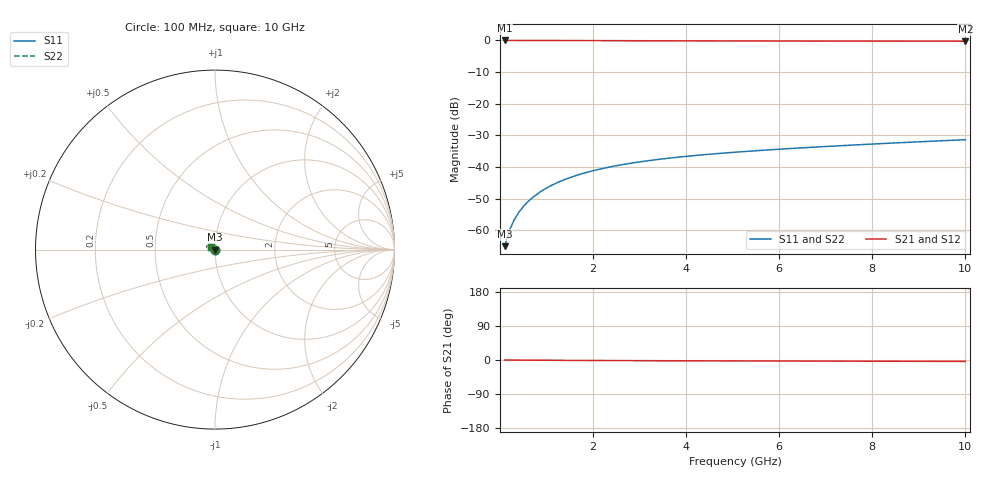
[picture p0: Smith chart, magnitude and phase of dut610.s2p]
! Touchstone file exported from HFSS 2024.1.0
!  File:  C:/UserFiles/LocalFiles/RDL_TSV_Batchsim/temp_TSV1_610_1779788118.aedt
!  Generated:  05:39:59 PM May 26, 2026
!  Design:  TSV1
!  Project:  temp_TSV1_610_1779788118
!  Setup:  Setup1
!  Solution:  Sweep
! Variables:
!  dtsv = 5.88um
!  hbump = 3um
!  htsv = 52.27um
!  lrdl = 252.1521522um
!  p = 40
!  p1 = 46.5um
!  t = 500um
!  trdl = 3um
!  wrdl = 24.89489489um
# GHz S MA R 50.000000
! Terminal data exported
! Port[1] = TSV22_T1
! Port[2] = TSV22_T2
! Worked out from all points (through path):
!   100 points, 100 MHz to 10 GHz, reference 50 ohm
!   highest |S21| = 0.00 dB at 100 MHz (marker M1); lowest = -0.2 dB at 10 GHz (marker M2)
!   lowest |S11| = -65.0 dB at 100 MHz (marker M3), VSWR 1.00, Z = 50 - j0.0481 ohm
!   |S11| at or under -10 dB: start of sweep to end of sweep
!   |S22| runs from -65.0 to -31.3 dB; largest |S21 - S12| = 4.1e-15
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0.1  0.0005654 -58.2  0.9997 -0.1  0.9997 -0.1  0.0005654 -58.2
! Gamma 0 0 0 0
! Port Impedance 50 0 50 0
0.2  0.0009895 -76.1  0.9996 -0.1  0.9996 -0.1  0.0009895 -76.1
0.3  0.001445 -84.5  0.9995 -0.2  0.9995 -0.2  0.001445 -84.5
0.4  0.00191 -89.8  0.9994 -0.3  0.9994 -0.3  0.00191 -89.8
0.5  0.002378 -93.9  0.9992 -0.4  0.9992 -0.4  0.002378 -93.9
0.6  0.002845 -97.3  0.999 -0.4  0.999 -0.4  0.002845 -97.3
0.7  0.00331 -100.3  0.9987 -0.5  0.9987 -0.5  0.00331 -100.3
0.8  0.00377 -103.0  0.9984 -0.6  0.9984 -0.6  0.00377 -103.0
0.9  0.004226 -105.6  0.9981 -0.6  0.9981 -0.6  0.004226 -105.6
1.1  0.005119 -110.4  0.9975 -0.8  0.9975 -0.8  0.005119 -110.4
1.4  0.006406 -117.1  0.9963 -1.0  0.9963 -1.0  0.006406 -117.1
1.6  0.007227 -121.3  0.9955 -1.1  0.9955 -1.1  0.007227 -121.3
1.8  0.008015 -125.3  0.9946 -1.2  0.9946 -1.2  0.008015 -125.3
2.1  0.009137 -131.1  0.9932 -1.4  0.9932 -1.4  0.009137 -131.1
2.5  0.01052 -138.2  0.9913 -1.5  0.9913 -1.5  0.01052 -138.2
2.9  0.01179 -144.9  0.9895 -1.7  0.9895 -1.7  0.01179 -144.9
3.4  0.01323 -152.6  0.9873 -1.9  0.9873 -1.9  0.01323 -152.6
4.2  0.01527 -163.4  0.9842 -2.2  0.9842 -2.2  0.01527 -163.4
5.1  0.01731 -173.8  0.9814 -2.4  0.9814 -2.4  0.01731 -173.8
6.7  0.02058 171.2  0.9777 -2.8  0.9777 -2.8  0.02058 171.2
8.4  0.02392 159.0  0.9752 -3.3  0.9752 -3.3  0.02392 159.0
10  0.02711 149.9  0.9734 -3.7  0.9734 -3.7  0.02711 149.9
